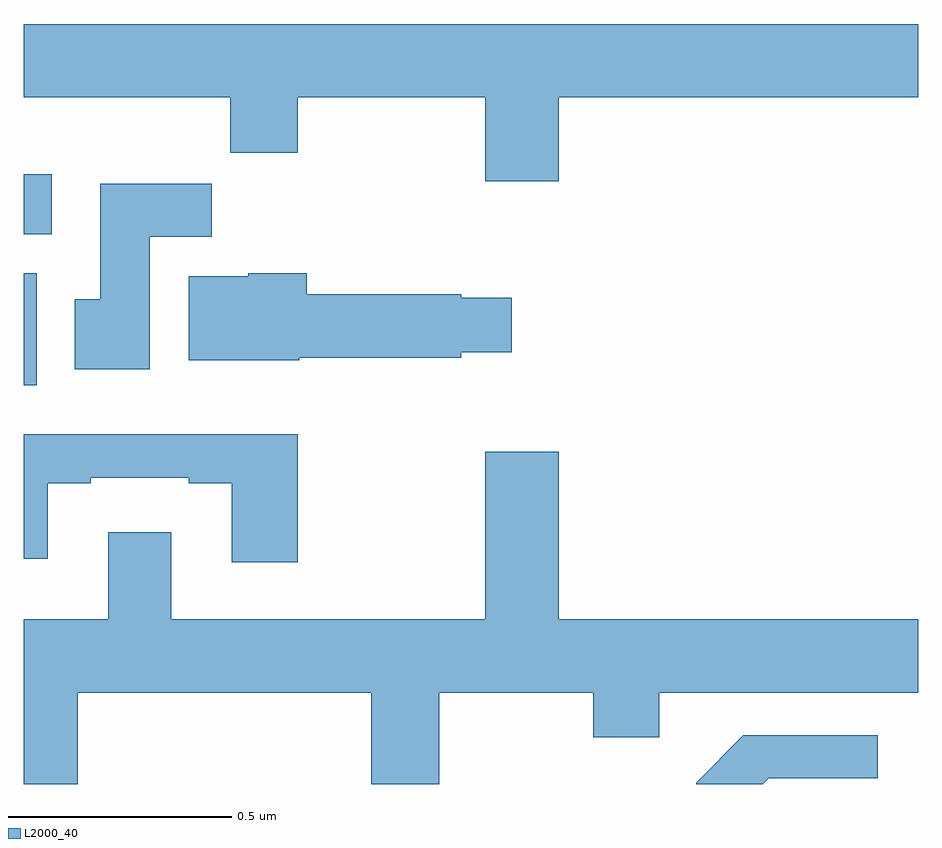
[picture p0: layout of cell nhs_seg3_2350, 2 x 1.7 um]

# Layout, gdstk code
import gdstk
lib = gdstk.Library(unit=1e-6, precision=1e-09)
def R(c, l, rs):  # rectangles x0, y0, x1, y1
    for r in rs: c.add(gdstk.rectangle(r[:2], r[2:], *l))
def P(c, l, *ps):  # polygons
    for p in ps: c.add(gdstk.Polygon(p, *l))
L2000_40 = (2000, 40)

nhs_seg3_2350 = lib.new_cell('nhs_seg3_2350')
R(nhs_seg3_2350, L2000_40, [(140,680.292,140.029,680.542), (140,680.63,140.062,680.764)])
P(nhs_seg3_2350, L2000_40, [(141.196,680.936),(142,680.936),(142,681.1),(140,681.1),(140,680.936),(140.461,680.936),(140.461,680.812),(140.613,680.812),(140.613,680.936),(141.032,680.936),(141.032,680.748),(141.196,680.748)],
  [(140.281,680.624),(140.42,680.624),(140.42,680.743),(140.171,680.743),(140.171,680.484),(140.114,680.484),(140.114,680.328),(140.281,680.328)],
  [(140.616,680.354),(140.978,680.354),(140.978,680.366),(141.091,680.366),(141.091,680.488),(140.978,680.488),(140.978,680.496),(140.633,680.496),(140.633,680.542),(140.502,680.542),(140.502,680.536),(140.369,680.536),(140.369,680.348),(140.616,680.348)],
  [(140.613,680.182),(140,680.182),(140,679.904),(140.053,679.904),(140.053,680.073),(140.149,680.073),(140.149,680.085),(140.369,680.085),(140.369,680.073),(140.465,680.073),(140.465,679.896),(140.613,679.896)],
  [(140.12,679.604),(140.777,679.604),(140.777,679.4),(140.929,679.4),(140.929,679.604),(141.274,679.604),(141.274,679.505),(141.421,679.505),(141.421,679.604),(142,679.604),(142,679.768),(141.196,679.768),(141.196,680.143),(141.032,680.143),(141.032,679.768),(140.329,679.768),(140.329,679.963),(140.189,679.963),(140.189,679.768),(140,679.768),(140,679.4),(140.12,679.4)],
  [(141.666,679.413),(141.91,679.413),(141.91,679.509),(141.609,679.509),(141.504,679.403),(141.504,679.4),(141.653,679.4)])

lib.write_gds('nhs_seg3_2350.gds')
